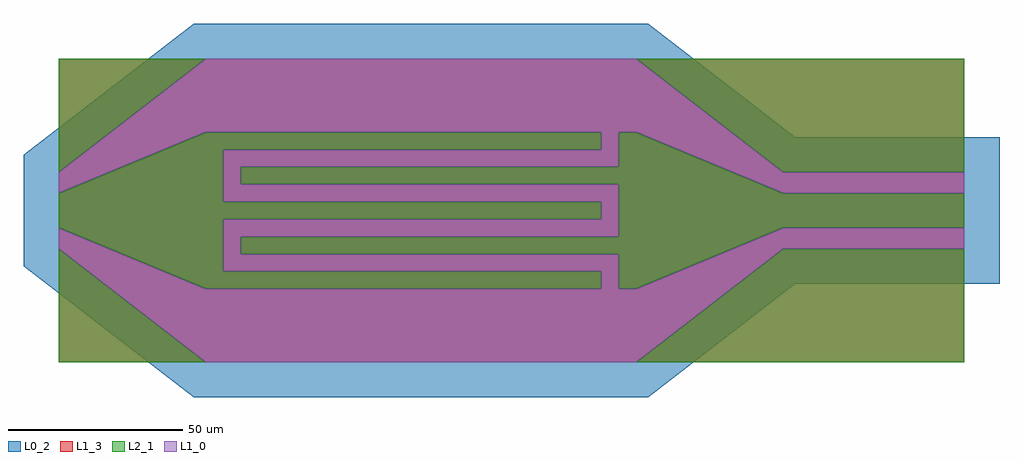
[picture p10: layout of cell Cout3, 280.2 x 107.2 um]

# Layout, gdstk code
import gdstk
lib = gdstk.Library(unit=1e-6, precision=1e-09)
def R(c, l, rs):  # rectangles x0, y0, x1, y1
    for r in rs: c.add(gdstk.rectangle(r[:2], r[2:], *l))
def P(c, l, *ps):  # polygons
    for p in ps: c.add(gdstk.Polygon(p, *l))
L0_2 = (0, 2)
L1_0 = (1, 0)
L1_3 = (1, 3)
L2_1 = (2, 1)

cout3 = lib.new_cell('Cout3')
P(cout3, L0_2, [(-91.198,-53.6),(-140.1,-15.972),(-140.1,15.972),(-91.198,53.6),(39.264,53.6),(81.502,21.1),(140.1,21.1),(140.1,-21.1),(81.502,-21.1),(39.264,-53.6)])
P(cout3, L1_0, [(-87.762,-43.5),(-130,-11),(-130,-5),(-87.717,-22.5),(25.783,-22.5),(25.783,-17.5),(-82.717,-17.5),(-82.717,-2.5),(25.783,-2.5),(25.783,2.5),(-82.717,2.5),(-82.717,17.5),(25.783,17.5),(25.783,22.5),(-87.717,22.5),(-130,5),(-130,11),(-87.762,43.5),(35.828,43.5),(78.066,11),(130,11),(130,5),(78.066,5),(35.783,22.5),(30.783,22.5),(30.783,12.5),(-77.717,12.5),(-77.717,7.5),(30.783,7.5),(30.783,-7.5),(-77.717,-7.5),(-77.717,-12.5),(30.783,-12.5),(30.783,-22.5),(35.783,-22.5),(78.066,-5),(130,-5),(130,-11),(78.066,-11),(35.828,-43.5)])
R(cout3, L1_3, [(-130,-43.5,130,43.5)])
P(cout3, L2_1, [(-130,11),(-130,43.5),(-87.762,43.5)],
  [(-130,-43.5),(-130,-11),(-87.762,-43.5)],
  [(-87.717,-22.5),(-130,-5),(-130,5),(-87.717,22.5),(25.783,22.5),(25.783,17.5),(-82.717,17.5),(-82.717,2.5),(25.783,2.5),(25.783,-2.5),(-82.717,-2.5),(-82.717,-17.5),(25.783,-17.5),(25.783,-22.5)],
  [(30.783,-22.5),(30.783,-12.5),(-77.717,-12.5),(-77.717,-7.5),(30.783,-7.5),(30.783,7.5),(-77.717,7.5),(-77.717,12.5),(30.783,12.5),(30.783,22.5),(35.783,22.5),(78.066,5),(130,5),(130,-5),(78.066,-5),(35.783,-22.5)],
  [(35.828,-43.5),(78.066,-11),(130,-11),(130,-43.5)],
  [(78.066,11),(35.828,43.5),(130,43.5),(130,11)])

lib.write_gds('Cout3.gds')
